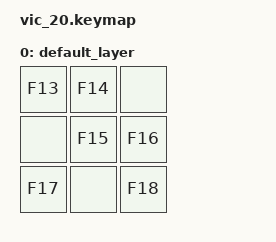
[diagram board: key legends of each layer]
#include <behaviors.dtsi>
#include <dt-bindings/zmk/keys.h>
#include <dt-bindings/zmk/bt.h>

/ {
    combos {
        compatible = "zmk,combos";
        combo_BT_clr {
            timeout-ms = <50>;
            key-positions = <4 5 6>;
            bindings = <&bt BT_CLR>;
        };
        combo_BT_set {
            timeout-ms = <50>;
            key-positions = <4 5 8>;
            bindings = <&bt BT_SEL 0>;
        };
    };
};

/ {
    keymap {
        compatible = "zmk,keymap";

        default_layer { // Layer 0
            // -------------------------------------
            // |     0     |     1     |     x     |
            // |     x     |     4     |     5     |
            // |     6     |     x     |     8     |
            bindings = <
                &kp F13    &kp F14    &none
                &none      &kp F15    &kp F16
                &kp F17    &none      &kp F18
            >;
        };
    };
 };
